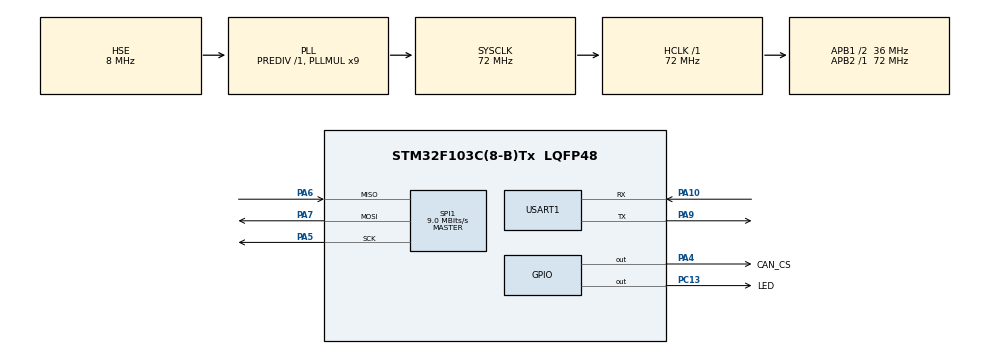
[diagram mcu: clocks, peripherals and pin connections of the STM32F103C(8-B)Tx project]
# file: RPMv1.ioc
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Mcu.Family=STM32F1
Mcu.Name=STM32F103C(8-B)Tx
Mcu.Package=LQFP48
NVIC.PriorityGroup=NVIC_PRIORITYGROUP_4
PA10.Mode=Asynchronous
PA10.Signal=USART1_RX
PA13.Mode=Serial_Wire
PA13.Signal=SYS_JTMS-SWDIO
PA14.Mode=Serial_Wire
PA14.Signal=SYS_JTCK-SWCLK
PA4.GPIO_Label=CAN_CS
PA4.Signal=GPIO_Output
PA5.Mode=Full_Duplex_Master
PA5.Signal=SPI1_SCK
PA6.Mode=Full_Duplex_Master
PA6.Signal=SPI1_MISO
PA7.Mode=Full_Duplex_Master
PA7.Signal=SPI1_MOSI
PA9.Mode=Asynchronous
PA9.Signal=USART1_TX
PC13-TAMPER-RTC.GPIO_Label=LED
PC13-TAMPER-RTC.Signal=GPIO_Output
PD0-OSC_IN.Mode=HSE-External-Oscillator
PD0-OSC_IN.Signal=RCC_OSC_IN
PD1-OSC_OUT.Mode=HSE-External-Oscillator
PD1-OSC_OUT.Signal=RCC_OSC_OUT
ProjectManager.HeapSize=0x200
ProjectManager.StackSize=0x400
ProjectManager.TargetToolchain=STM32CubeIDE
RCC.AHBFreq_Value=72000000
RCC.APB1CLKDivider=RCC_HCLK_DIV2
RCC.APB1Freq_Value=36000000
RCC.APB1TimFreq_Value=72000000
RCC.APB2Freq_Value=72000000
RCC.APB2TimFreq_Value=72000000
RCC.HCLKFreq_Value=72000000
RCC.PLLMUL=RCC_PLL_MUL9
RCC.PLLSourceVirtual=RCC_PLLSOURCE_HSE
RCC.SYSCLKFreq_VALUE=72000000
RCC.SYSCLKSource=RCC_SYSCLKSOURCE_PLLCLK
RCC.USBFreq_Value=72000000
SPI1.BaudRatePrescaler=SPI_BAUDRATEPRESCALER_8
SPI1.CalculateBaudRate=9.0 MBits/s
SPI1.Direction=SPI_DIRECTION_2LINES
SPI1.Mode=SPI_MODE_MASTER
SPI1.VirtualType=VM_MASTER
USART1.VirtualMode=VM_ASYNC
board=custom

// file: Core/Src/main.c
/* USER CODE BEGIN Header */
/**
  ******************************************************************************
  * @file           : main.c
  * @brief          : Main program body
  ******************************************************************************
  * @attention
  *
  * Copyright (c) 2025 STMicroelectronics.
  * All rights reserved.
  *
  * This software is licensed under terms that can be found in the LICENSE file
  * in the root directory of this software component.
  * If no LICENSE file comes with this software, it is provided AS-IS.
  *
  ******************************************************************************
  */

/**
 * USING MCP2515 LIBRARY FROM HERE: https://www.micropeta.com/video138
 */
/* USER CODE END Header */
#include "main.h"
#include "spi.h"
#include "usart.h"
#include "gpio.h"

/* USER CODE BEGIN Includes */
#include "CANSPI.h"
#include <stdio.h>
#include <string.h>
#include <stdlib.h>
#include <math.h>
/* USER CODE END Includes */

/* USER CODE BEGIN PTD */
typedef struct {
  int16_t angle;
  int16_t velocity;
  int16_t current;
  uint8_t temp;

  uint16_t encoder;
  uint16_t encoderRaw;
  int16_t encoderOffset;
} Motor;

typedef enum {
  MOTOR_BOTH_OFF, //0
  MOTOR_BOTH_RANDOM, //1
  MOTOR_1_CONSTANT, //2 // for the pig on a stick
  MOTOR_2_CONSTANT //3
} MotorProfile;
/* USER CODE END PTD */

/* USER CODE BEGIN PV */

#define RX_BUFF_SIZE 500
#define MAX_VELO_RPM 15
char state = 'i';

uint16_t ledTimer = 0;
bool led = false;

uint32_t lastPrintTime = 0;
uint32_t printInterval = 200;

uCAN_MSG rxMessage;

uint8_t rx_buff[RX_BUFF_SIZE] = {0};
uint8_t rx_buff_arm = 0;

static char msg[64];

MotorProfile currentProfile = MOTOR_BOTH_RANDOM;

Motor motorA;
Motor motorB;

Motor motors[2];
/* USER CODE END PV */

void SystemClock_Config(void);
/* USER CODE BEGIN PFP */

void setVelocity(uint16_t canID, int32_t velocity_dps_hundreth);
void sendCommand(uint16_t canID, uint8_t command);
void resetMotor(uint16_t canID);
void getFeedback();
void setMotorProfile(MotorProfile profile);

/* USER CODE END PFP */

int main(void)
{

  /* USER CODE BEGIN 1 */
	motors[0] = motorA;
	motors[1] = motorB;
  /* USER CODE END 1 */

  /* MCU Configuration--------------------------------------------------------*/

  /* Reset of all peripherals, Initializes the Flash interface and the Systick. */
  HAL_Init();

  /* Configure the system clock */
  SystemClock_Config();

  /* Initialize all configured peripherals */
  MX_GPIO_Init();
  MX_SPI1_Init();
  MX_USART1_UART_Init();
  /* USER CODE BEGIN 2 */
  HAL_UART_Receive_IT(&huart1, rx_buff, 1);

  CANSPI_Initialize();
  HAL_Delay(1000);
  /* USER CODE END 2 */

  /* Infinite loop */
  /* USER CODE BEGIN WHILE */
  while (1)
  {
	  // if we receive data from the motor, parse it into the motor struct
	  if (CANSPI_Receive(&rxMessage)) {
		  getFeedback();
	  }

	  // 'a is the only state when motors are running
	  if (state == 'a'){
		  setVelocity(0x141, MAX_VELO_RPM * 6 * 100);
		  setVelocity(0x142, MAX_VELO_RPM * 6 * 100);
	  } else {
		  resetMotor(0x141);
		  resetMotor(0x142);
	  }

	  // timed print
	  if (HAL_GetTick() - lastPrintTime >= printInterval) {
		  lastPrintTime = HAL_GetTick();
		  memset(msg, 0, sizeof(msg));  // clear garbage from buffer
		  int len = snprintf(msg, sizeof(msg),
				  "%d %d %d %d %d %d\n",
				  motors[0].angle, motors[0].velocity, motors[0].encoder,
				  motors[1].angle, motors[1].velocity, motors[1].encoder);

		  // Send over UART using interrupt
		  HAL_UART_Transmit_IT(&huart1, (uint8_t*)msg, len);
	  }

	  // LED loop to check board status
	  ledTimer ++;
	  if(ledTimer > 200){
		  ledTimer = 0;
		  led = !led;
		  if(led){
			  HAL_GPIO_WritePin(GPIOC, GPIO_PIN_13, GPIO_PIN_SET);
		  }else{
			  HAL_GPIO_WritePin(GPIOC, GPIO_PIN_13, GPIO_PIN_RESET);
		  }
	  }

	  // limits loop speed
	  HAL_Delay(1);

    /* USER CODE END WHILE */

  }
}

void SystemClock_Config(void)
{
  RCC_OscInitTypeDef RCC_OscInitStruct = {0};
  RCC_ClkInitTypeDef RCC_ClkInitStruct = {0};

  /** Initializes the RCC Oscillators according to the specified parameters
  * in the RCC_OscInitTypeDef structure.
  */
  RCC_OscInitStruct.OscillatorType = RCC_OSCILLATORTYPE_HSE;
  RCC_OscInitStruct.HSEState = RCC_HSE_ON;
  RCC_OscInitStruct.HSEPredivValue = RCC_HSE_PREDIV_DIV1;
  RCC_OscInitStruct.HSIState = RCC_HSI_ON;
  RCC_OscInitStruct.PLL.PLLState = RCC_PLL_ON;
  RCC_OscInitStruct.PLL.PLLSource = RCC_PLLSOURCE_HSE;
  RCC_OscInitStruct.PLL.PLLMUL = RCC_PLL_MUL9;
  if (HAL_RCC_OscConfig(&RCC_OscInitStruct) != HAL_OK)
  {
    Error_Handler();
  }

  /** Initializes the CPU, AHB and APB buses clocks
  */
  RCC_ClkInitStruct.ClockType = RCC_CLOCKTYPE_HCLK|RCC_CLOCKTYPE_SYSCLK
                              |RCC_CLOCKTYPE_PCLK1|RCC_CLOCKTYPE_PCLK2;
  RCC_ClkInitStruct.SYSCLKSource = RCC_SYSCLKSOURCE_PLLCLK;
  RCC_ClkInitStruct.AHBCLKDivider = RCC_SYSCLK_DIV1;
  RCC_ClkInitStruct.APB1CLKDivider = RCC_HCLK_DIV2;
  RCC_ClkInitStruct.APB2CLKDivider = RCC_HCLK_DIV1;

  if (HAL_RCC_ClockConfig(&RCC_ClkInitStruct, FLASH_LATENCY_2) != HAL_OK)
  {
    Error_Handler();
  }
}

/* USER CODE BEGIN 4 */

void HAL_UART_RxCpltCallback(UART_HandleTypeDef *huart){
	char recentChar = *(rx_buff + rx_buff_arm); // the most recent character that has not been read yet

	/** fsm for the RPM:
		-------------------------------
		 i | idle (choose profile)
		 a | begin profile
	 **/
	switch (state){
	case 'i':
		resetMotor(0x141);
		resetMotor(0x142);
		if (recentChar == 'a') {
			state = 'a';
		}
		break;

	case 'a':
		if (recentChar == 'r') {
			resetMotor(0x141);
			resetMotor(0x142);
			state = 'i';
		}
	}

	// move to next index in the circular buffer to be read
	rx_buff_arm ++;

	// make sure we stay within the buffer
	if(rx_buff_arm >= RX_BUFF_SIZE){
		rx_buff_arm = 0;
	}

	// flush our command history through UART
	HAL_UART_Transmit_IT(&huart1, rx_buff, RX_BUFF_SIZE);

	uint8_t char_arr[1] = {recentChar};
	HAL_UART_Transmit_IT(&huart1, char_arr, 1);

	// necessary to prime the next callback
	HAL_UART_Receive_IT(&huart1, rx_buff + rx_buff_arm, 1); // the next character will be stored in the next index
}

void setVelocity(uint16_t canID, int32_t velocity_dps_hundreth){
	uCAN_MSG txMessage;

	// sending data to motor
	txMessage.frame.idType = dSTANDARD_CAN_MSG_ID_2_0B;
	txMessage.frame.id = canID; // ID can be between Hex1 and Hex7FF (1-2047 decimal)
	txMessage.frame.dlc = 8;

	txMessage.frame.data0 = 0xA2;
	txMessage.frame.data1 = 0x00;
	txMessage.frame.data2 = 0x00;
	txMessage.frame.data3 = 0x00;
	txMessage.frame.data4 = (uint8_t)(velocity_dps_hundreth);
	txMessage.frame.data5 = (uint8_t)(velocity_dps_hundreth>>8);
	txMessage.frame.data6 = (uint8_t)(velocity_dps_hundreth>>16);
	txMessage.frame.data7 = (uint8_t)(velocity_dps_hundreth>>24);

	CANSPI_Transmit(&txMessage);
}

void sendCommand(uint16_t canID, uint8_t command){
	uCAN_MSG txMessage;

	// sending data to motor
	txMessage.frame.idType = dSTANDARD_CAN_MSG_ID_2_0B;
	txMessage.frame.id = canID; // ID can be between Hex1 and Hex7FF (1-2047 decimal)
	txMessage.frame.dlc = 8;

	txMessage.frame.data0 = command;
	txMessage.frame.data1 = 0x00;
	txMessage.frame.data2 = 0x00;
	txMessage.frame.data3 = 0x00;
	txMessage.frame.data4 = 0x00;
	txMessage.frame.data5 = 0x00;
	txMessage.frame.data6 = 0x00;
	txMessage.frame.data7 = 0x00;

	CANSPI_Transmit(&txMessage);
}

void resetMotor(uint16_t canID){
  sendCommand(canID, 0x76);
}

void getFeedback(){
	uint8_t data[8] = {rxMessage.frame.data0, rxMessage.frame.data1, rxMessage.frame.data2,
					   rxMessage.frame.data3, rxMessage.frame.data4, rxMessage.frame.data5,
					   rxMessage.frame.data6, rxMessage.frame.data7};

	// first motor
	if (rxMessage.frame.id == 0x141 && rxMessage.frame.data0 == 0xA2) {
		motors[0].angle = (int16_t)(data[6] | (data[7]<<8));
		motors[0].velocity = (int16_t)(data[4] | (data[5]<<8));
		motors[0].current = (int16_t)(data[2] | (data[3]<<8));
		motors[0].temp = data[1];
	}else if(rxMessage.frame.id == 0x141 && data[0] == 0x90){
        motors[0].encoder = (int16_t)(data[2] | (data[3]<<8));
        motors[0].encoderRaw = (int16_t)(data[4] | (data[5]<<8));
        motors[0].encoderOffset = (int16_t)(data[6] | (data[7]<<8));
    }

	// second motor
	if (rxMessage.frame.id == 0x142 && rxMessage.frame.data0 == 0xA2) {
		motors[1].angle = (int16_t)(data[6] | (data[7]<<8));
		motors[1].velocity = (int16_t)(data[4] | (data[5]<<8));
		motors[1].current = (int16_t)(data[2] | (data[3]<<8));
		motors[1].temp = data[1];
	}else if(rxMessage.frame.id == 0x142 && data[0] == 0x90){
        motors[1].encoder = (int16_t)(data[2] | (data[3]<<8));
        motors[1].encoderRaw = (int16_t)(data[4] | (data[5]<<8));
        motors[1].encoderOffset = (int16_t)(data[6] | (data[7]<<8));
    }
}

void setMotorProfile(MotorProfile profile) {
  currentProfile = profile;
}

/* USER CODE END 4 */

void Error_Handler(void)
{
  __disable_irq();
  while (1)
  {
  }
}
